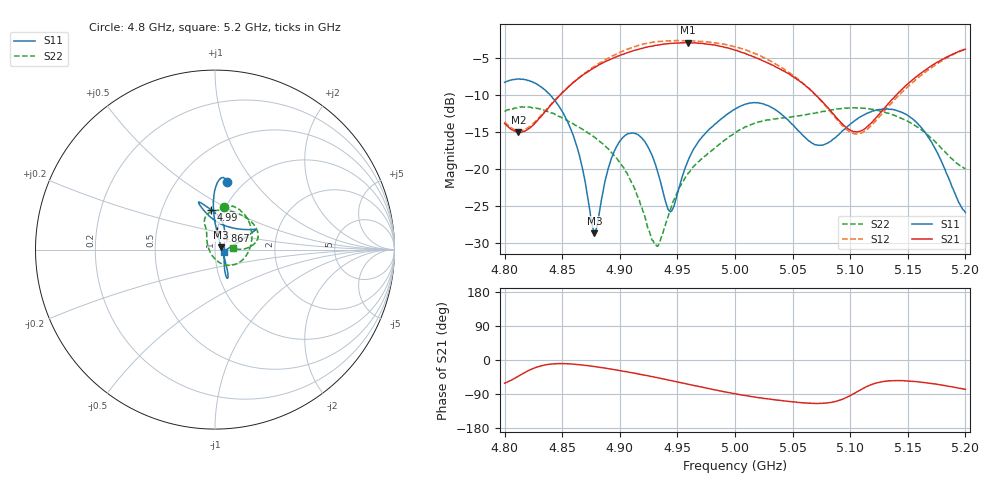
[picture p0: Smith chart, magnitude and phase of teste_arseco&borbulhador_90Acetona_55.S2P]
! Network Analyzer HP8722D
! Hewlett-Packard
! Data name: Linha & Wilkinson
! Saver's name: Rodrigo Anjos
! Comments: Teste da utilização de aquisição
! continua pelo VNA HP8722D
! Time and date: 17/4/2025 11:30
!  Frequency  S11  S21  S12  S22
# HZ  S  MA R 50
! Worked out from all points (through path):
!   401 points, 4.8 GHz to 5.2 GHz, reference 50 ohm
!   highest |S21| = -2.97 dB at 4.959 GHz (marker M1); lowest = -15.1 dB at 4.812 GHz (marker M2)
!   lowest |S11| = -28.7 dB at 4.878 GHz (marker M3), VSWR 1.08, Z = 53.6 + j1.28 ohm
!   |S11| at or under -10 dB: 4.839 GHz to end of sweep
!   |S22| runs from -30.4 to -11.6 dB; largest |S21 - S12| = 1.4
!   S11 on the Smith chart (normalised r, x): 4.8 GHz: 0.84, +0.75; 4.867 GHz: 1.00, +0.21; 4.99 GHz: 0.87, +0.41; 5.2 GHz: 1.10, -0.03
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4.8e9  0.3839 79.9  0.2029 -61.3  0.2078 74.0  0.2439 78.7
4.812e9  0.4049 83.5  0.1764 -42.8  0.1817 90.6  0.2593 68.0
4.845e9  0.28 91.7  0.2967 -9.6  0.2991 123.0  0.2306 28.5
4.858e9  0.1811 91.3  0.3733 -10.5  0.374 124.2  0.2042 9.7
4.867e9  0.1054 84.7  0.4243 -13.1  0.4276 123.4  0.1864 -4.0
4.878e9  0.03682 18.9  0.483 -17.4  0.4919 121.3  0.164 -20.7
4.892e9  0.1135 -55.7  0.5499 -23.7  0.5686 116.8  0.1315 -40.6
4.904e9  0.1666 -64.2  0.5977 -30.0  0.6288 111.7  0.1004 -57.1
4.92e9  0.1586 -67.6  0.6515 -39.2  0.6946 103.1  0.05224 -90.3
4.929e9  0.1179 -63.4  0.674 -44.4  0.7161 97.6  0.03281 -134.7
4.934e9  0.0892 -55.6  0.6858 -47.7  0.7236 94.4  0.03131 -172.4
4.944e9  0.05148 -1.9  0.7018 -54.0  0.7292 87.9  0.05355 142.3
4.959e9  0.1128 61.4  0.7105 -63.6  0.7295 78.3  0.09301 120.0
4.99e9  0.2231 95.7  0.665 -83.3  0.6949 58.0  0.1544 111.9
5e9  0.254 103.0  0.6317 -89.2  0.6679 51.6  0.1753 109.8
5.03e9  0.2642 108.9  0.5117 -103.2  0.5375 35.2  0.214 92.7
5.067e9  0.1493 80.8  0.3336 -114.5  0.3315 26.2  0.2358 59.6
5.081e9  0.1504 55.3  0.2572 -112.9  0.2529 29.3  0.2477 45.9
5.104e9  0.2118 31.7  0.1788 -87.0  0.1725 57.0  0.2582 26.7
5.134e9  0.2528 26.2  0.2809 -54.9  0.2682 91.0  0.2366 11.3
5.165e9  0.1766 21.5  0.4635 -59.7  0.447 88.1  0.176 2.3
5.2e9  0.05089 -16.6  0.6415 -77.5  0.6441 71.4  0.1006 4.4
